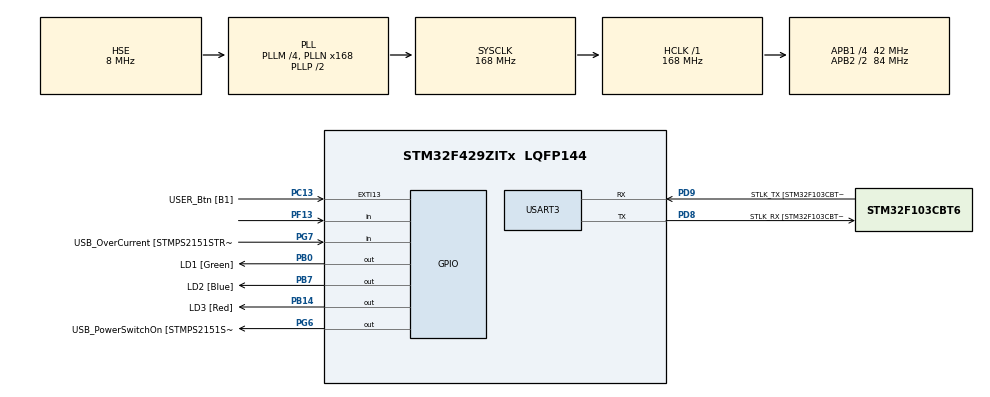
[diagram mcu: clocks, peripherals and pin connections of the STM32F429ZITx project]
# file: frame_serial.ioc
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Mcu.Family=STM32F4
Mcu.Name=STM32F429ZITx
Mcu.Package=LQFP144
NVIC.PriorityGroup=NVIC_PRIORITYGROUP_4
PA13.GPIO_Label=TMS
PA13.Mode=Serial_Wire
PA13.Signal=SYS_JTMS-SWDIO
PA14.GPIO_Label=TCK
PA14.Mode=Serial_Wire
PA14.Signal=SYS_JTCK-SWCLK
PB0.GPIO_Label=LD1 [Green]
PB0.Signal=GPIO_Output
PB14.GPIO_Label=LD3 [Red]
PB14.Signal=GPIO_Output
PB7.GPIO_Label=LD2 [Blue]
PB7.Signal=GPIO_Output
PC13.GPIO_Label=USER_Btn [B1]
PC13.Signal=GPXTI13
PC14/OSC32_IN.Mode=LSE-External-Oscillator
PC14/OSC32_IN.Signal=RCC_OSC32_IN
PC15/OSC32_OUT.Mode=LSE-External-Oscillator
PC15/OSC32_OUT.Signal=RCC_OSC32_OUT
PD8.GPIO_Label=STLK_RX [STM32F103CBT6_PA3]
PD8.Mode=Asynchronous
PD8.Signal=USART3_TX
PD9.GPIO_Label=STLK_TX [STM32F103CBT6_PA2]
PD9.Mode=Asynchronous
PD9.Signal=USART3_RX
PF13.Signal=GPIO_Input
PG6.GPIO_Label=USB_PowerSwitchOn [STMPS2151STR_EN]
PG6.Signal=GPIO_Output
PG7.GPIO_Label=USB_OverCurrent [STMPS2151STR_FAULT]
PG7.Signal=GPIO_Input
PH0/OSC_IN.GPIO_Label=MCO [STM32F103CBT6_PA8]
PH0/OSC_IN.Mode=HSE-External-Clock-Source
PH0/OSC_IN.Signal=RCC_OSC_IN
PH1/OSC_OUT.Mode=HSE-External-Clock-Source
PH1/OSC_OUT.Signal=RCC_OSC_OUT
ProjectManager.HeapSize=0x200
ProjectManager.StackSize=0x400
ProjectManager.TargetToolchain=STM32CubeIDE
RCC.48MHZClocksFreq_Value=48000000
RCC.AHBFreq_Value=168000000
RCC.APB1CLKDivider=RCC_HCLK_DIV4
RCC.APB1Freq_Value=42000000
RCC.APB1TimFreq_Value=84000000
RCC.APB2CLKDivider=RCC_HCLK_DIV2
RCC.APB2Freq_Value=84000000
RCC.APB2TimCLKDivider=2
RCC.APB2TimFreq_Value=168000000
RCC.CortexFreq_Value=168000000
RCC.HCLKFreq_Value=168000000
RCC.HSE_VALUE=8000000
RCC.HSI_VALUE=16000000
RCC.PLLM=4
RCC.PLLMUL=RCC_PLL_MUL9
RCC.PLLN=168
RCC.PLLQ=7
RCC.PLLSourceVirtual=RCC_PLLSOURCE_HSE
RCC.PRESCALERUSB=RCC_USBCLKSOURCE_PLL_DIV1_5
RCC.SYSCLKFreq_VALUE=168000000
RCC.SYSCLKSource=RCC_SYSCLKSOURCE_PLLCLK
RCC.SYSCLKSourceVirtual=RCC_SYSCLKSOURCE_PLLCLK
RCC.USBFreq_Value=48000000
RCC.VCOOutputFreq_Value=336000000
USART3.VirtualMode=VM_ASYNC
board=NUCLEO-F429ZI

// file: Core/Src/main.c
/* USER CODE BEGIN Header */
/**
  ******************************************************************************
  * @file           : main.c
  * @brief          : Main program body
  ******************************************************************************
  * @attention
  *
  * Copyright (c) 2025 STMicroelectronics.
  * All rights reserved.
  *
  * This software is licensed under terms that can be found in the LICENSE file
  * in the root directory of this software component.
  * If no LICENSE file comes with this software, it is provided AS-IS.
  *
  ******************************************************************************
  */
/* USER CODE END Header */
#include "main.h"

#include "stdio.h"

#include "string.h"

#include "stdbool.h"

UART_HandleTypeDef huart3;

void SystemClock_Config(void);
static void MX_GPIO_Init(void);
static void MX_USART3_UART_Init(void);

/* USER CODE BEGIN 0 */
void UART_Send_StxAndEtxFrame(void){
	uint8_t frame[12];
	frame[0] = 0x02;
	frame[1] = 0x48;
	frame[2] = 0x45;
	frame[3] = 0x4C;
	frame[4] = 0x4C;
	frame[5] = 0x4F;
	frame[6] = 0x53;
	frame[7] = 0x54;
	frame[8] = 0x4D;
	frame[9] = 0x03;
	frame[10] = '\r';
	frame[11] = '\n';

	HAL_UART_Transmit(&huart3,frame,sizeof(frame),10);

}

void UART_Send_StxOnlyFrame(void){
	uint8_t frame[10];
	    frame[0] = 0x02;
		frame[1] = 0x53;
		frame[2] = 0x54;
		frame[3] = 0x58;
		frame[4] = 0x4F;
		frame[5] = 0x4E;
		frame[6] = 0x4C;
		frame[7] = 0x59;
		frame[8] = '\r';
		frame[9] = '\n';
		HAL_UART_Transmit(&huart3,frame,sizeof(frame),10);

}
/* USER CODE END 0 */

int main(void)
{

  /* MCU Configuration--------------------------------------------------------*/

  /* Reset of all peripherals, Initializes the Flash interface and the Systick. */
  HAL_Init();

  /* Configure the system clock */
  SystemClock_Config();

  /* Initialize all configured peripherals */
  MX_GPIO_Init();
  MX_USART3_UART_Init();

  /* Infinite loop */
  while (1)
  {
    bool sw1 = (GPIOF->IDR & 0x2000);
    switch(sw1){
    case 0:
    	UART_Send_StxAndEtxFrame();
    	HAL_Delay(1000);
    	break;
    case 1:
    	UART_Send_StxOnlyFrame();
    	HAL_Delay(1000);
    	break;
    }
  }
}

void SystemClock_Config(void)
{
  RCC_OscInitTypeDef RCC_OscInitStruct = {0};
  RCC_ClkInitTypeDef RCC_ClkInitStruct = {0};

  /** Configure the main internal regulator output voltage
  */
  __HAL_RCC_PWR_CLK_ENABLE();
  __HAL_PWR_VOLTAGESCALING_CONFIG(PWR_REGULATOR_VOLTAGE_SCALE1);

  /** Initializes the RCC Oscillators according to the specified parameters
  * in the RCC_OscInitTypeDef structure.
  */
  RCC_OscInitStruct.OscillatorType = RCC_OSCILLATORTYPE_HSE;
  RCC_OscInitStruct.HSEState = RCC_HSE_BYPASS;
  RCC_OscInitStruct.PLL.PLLState = RCC_PLL_ON;
  RCC_OscInitStruct.PLL.PLLSource = RCC_PLLSOURCE_HSE;
  RCC_OscInitStruct.PLL.PLLM = 4;
  RCC_OscInitStruct.PLL.PLLN = 168;
  RCC_OscInitStruct.PLL.PLLP = RCC_PLLP_DIV2;
  RCC_OscInitStruct.PLL.PLLQ = 7;
  if (HAL_RCC_OscConfig(&RCC_OscInitStruct) != HAL_OK)
  {
    Error_Handler();
  }

  /** Initializes the CPU, AHB and APB buses clocks
  */
  RCC_ClkInitStruct.ClockType = RCC_CLOCKTYPE_HCLK|RCC_CLOCKTYPE_SYSCLK
                              |RCC_CLOCKTYPE_PCLK1|RCC_CLOCKTYPE_PCLK2;
  RCC_ClkInitStruct.SYSCLKSource = RCC_SYSCLKSOURCE_PLLCLK;
  RCC_ClkInitStruct.AHBCLKDivider = RCC_SYSCLK_DIV1;
  RCC_ClkInitStruct.APB1CLKDivider = RCC_HCLK_DIV4;
  RCC_ClkInitStruct.APB2CLKDivider = RCC_HCLK_DIV2;

  if (HAL_RCC_ClockConfig(&RCC_ClkInitStruct, FLASH_LATENCY_5) != HAL_OK)
  {
    Error_Handler();
  }
}

static void MX_USART3_UART_Init(void)
{

  huart3.Instance = USART3;
  huart3.Init.BaudRate = 115200;
  huart3.Init.WordLength = UART_WORDLENGTH_8B;
  huart3.Init.StopBits = UART_STOPBITS_1;
  huart3.Init.Parity = UART_PARITY_NONE;
  huart3.Init.Mode = UART_MODE_TX_RX;
  huart3.Init.HwFlowCtl = UART_HWCONTROL_NONE;
  huart3.Init.OverSampling = UART_OVERSAMPLING_16;
  if (HAL_UART_Init(&huart3) != HAL_OK)
  {
    Error_Handler();
  }

}

static void MX_GPIO_Init(void)
{
  GPIO_InitTypeDef GPIO_InitStruct = {0};

  /* GPIO Ports Clock Enable */
  __HAL_RCC_GPIOC_CLK_ENABLE();
  __HAL_RCC_GPIOH_CLK_ENABLE();
  __HAL_RCC_GPIOB_CLK_ENABLE();
  __HAL_RCC_GPIOF_CLK_ENABLE();
  __HAL_RCC_GPIOD_CLK_ENABLE();
  __HAL_RCC_GPIOG_CLK_ENABLE();
  __HAL_RCC_GPIOA_CLK_ENABLE();

  /*Configure GPIO pin Output Level */
  HAL_GPIO_WritePin(GPIOB, LD1_Pin|LD3_Pin|LD2_Pin, GPIO_PIN_RESET);

  /*Configure GPIO pin Output Level */
  HAL_GPIO_WritePin(USB_PowerSwitchOn_GPIO_Port, USB_PowerSwitchOn_Pin, GPIO_PIN_RESET);

  /*Configure GPIO pin : USER_Btn_Pin */
  GPIO_InitStruct.Pin = USER_Btn_Pin;
  GPIO_InitStruct.Mode = GPIO_MODE_IT_RISING;
  GPIO_InitStruct.Pull = GPIO_NOPULL;
  HAL_GPIO_Init(USER_Btn_GPIO_Port, &GPIO_InitStruct);

  /*Configure GPIO pins : LD1_Pin LD3_Pin LD2_Pin */
  GPIO_InitStruct.Pin = LD1_Pin|LD3_Pin|LD2_Pin;
  GPIO_InitStruct.Mode = GPIO_MODE_OUTPUT_PP;
  GPIO_InitStruct.Pull = GPIO_NOPULL;
  GPIO_InitStruct.Speed = GPIO_SPEED_FREQ_LOW;
  HAL_GPIO_Init(GPIOB, &GPIO_InitStruct);

  /*Configure GPIO pin : PF13 */
  GPIO_InitStruct.Pin = GPIO_PIN_13;
  GPIO_InitStruct.Mode = GPIO_MODE_INPUT;
  GPIO_InitStruct.Pull = GPIO_NOPULL;
  HAL_GPIO_Init(GPIOF, &GPIO_InitStruct);

  /*Configure GPIO pin : USB_PowerSwitchOn_Pin */
  GPIO_InitStruct.Pin = USB_PowerSwitchOn_Pin;
  GPIO_InitStruct.Mode = GPIO_MODE_OUTPUT_PP;
  GPIO_InitStruct.Pull = GPIO_NOPULL;
  GPIO_InitStruct.Speed = GPIO_SPEED_FREQ_LOW;
  HAL_GPIO_Init(USB_PowerSwitchOn_GPIO_Port, &GPIO_InitStruct);

  /*Configure GPIO pin : USB_OverCurrent_Pin */
  GPIO_InitStruct.Pin = USB_OverCurrent_Pin;
  GPIO_InitStruct.Mode = GPIO_MODE_INPUT;
  GPIO_InitStruct.Pull = GPIO_NOPULL;
  HAL_GPIO_Init(USB_OverCurrent_GPIO_Port, &GPIO_InitStruct);

}

void Error_Handler(void)
{
  __disable_irq();
  while (1)
  {
  }
}
